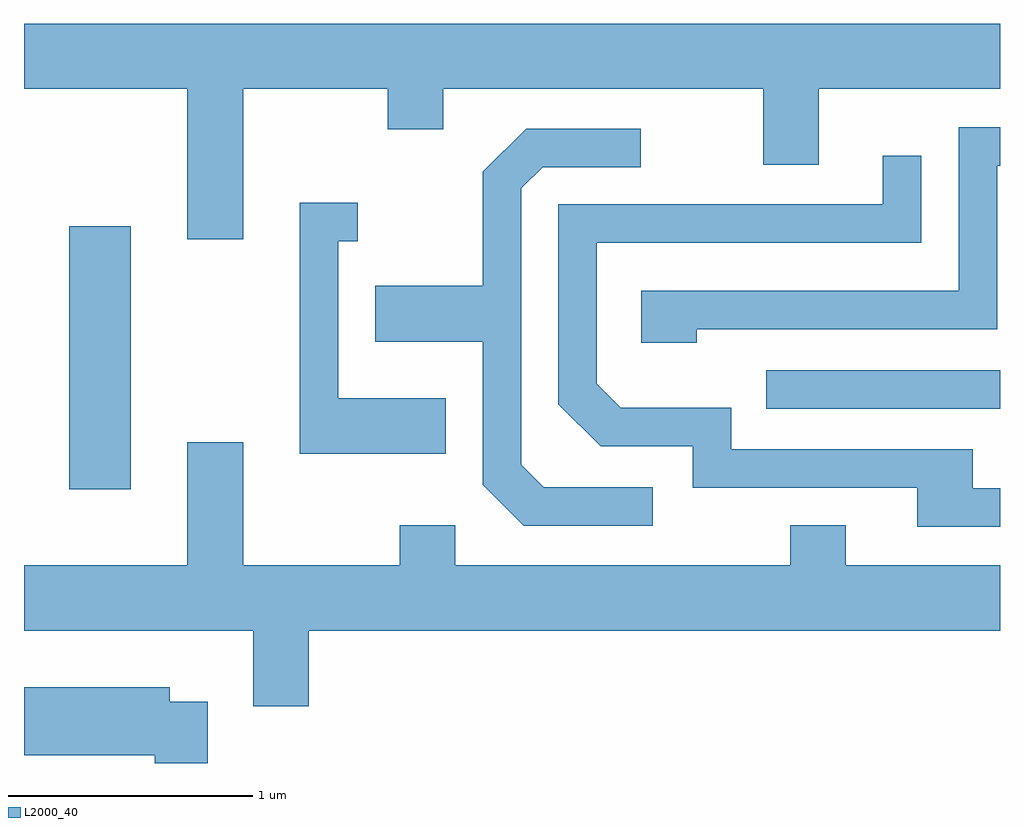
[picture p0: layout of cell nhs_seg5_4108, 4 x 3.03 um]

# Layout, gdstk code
import gdstk
lib = gdstk.Library(unit=1e-6, precision=1e-09)
def R(c, l, rs):  # rectangles x0, y0, x1, y1
    for r in rs: c.add(gdstk.rectangle(r[:2], r[2:], *l))
def P(c, l, *ps):  # polygons
    for p in ps: c.add(gdstk.Polygon(p, *l))
L2000_40 = (2000, 40)

nhs_seg5_4108 = lib.new_cell('nhs_seg5_4108')
R(nhs_seg5_4108, L2000_40, [(307.796,1415.196,308.049,1416.274), (310.653,1415.526,311.611,1415.684)])
P(nhs_seg5_4108, L2000_40, [(308.509,1416.836),(309.101,1416.836),(309.101,1416.671),(309.329,1416.671),(309.329,1416.836),(310.641,1416.836),(310.641,1416.526),(310.869,1416.526),(310.869,1416.836),(311.611,1416.836),(311.611,1417.104),(307.611,1417.104),(307.611,1416.836),(308.281,1416.836),(308.281,1416.221),(308.509,1416.221)],
  [(310.369,1415.851),(311.599,1415.851),(311.599,1416.521),(311.611,1416.521),(311.611,1416.679),(311.441,1416.679),(311.441,1416.009),(310.141,1416.009),(310.141,1415.796),(310.369,1415.796)],
  [(310.188,1415.204),(309.742,1415.204),(309.649,1415.297),(309.649,1416.429),(309.737,1416.516),(310.138,1416.516),(310.138,1416.674),(309.669,1416.674),(309.491,1416.497),(309.491,1416.029),(309.051,1416.029),(309.051,1415.801),(309.491,1415.801),(309.491,1415.214),(309.659,1415.046),(310.188,1415.046)],
  [(311.611,1415.199),(311.499,1415.199),(311.499,1415.359),(310.509,1415.359),(310.509,1415.529),(310.057,1415.529),(309.959,1415.627),(309.959,1416.206),(311.289,1416.206),(311.289,1416.563),(311.131,1416.563),(311.131,1416.364),(309.801,1416.364),(309.801,1415.544),(309.974,1415.371),(310.351,1415.371),(310.351,1415.201),(311.271,1415.201),(311.271,1415.041),(311.611,1415.041)],
  [(309.339,1415.569),(308.899,1415.569),(308.899,1416.211),(308.978,1416.211),(308.978,1416.369),(308.741,1416.369),(308.741,1415.341),(309.339,1415.341)],
  [(308.779,1414.616),(311.611,1414.616),(311.611,1414.884),(310.979,1414.884),(310.979,1415.049),(310.751,1415.049),(310.751,1414.884),(309.379,1414.884),(309.379,1415.049),(309.151,1415.049),(309.151,1414.884),(308.509,1414.884),(308.509,1415.389),(308.281,1415.389),(308.281,1414.884),(307.611,1414.884),(307.611,1414.616),(308.551,1414.616),(308.551,1414.306),(308.779,1414.306)],
  [(308.364,1414.324),(308.209,1414.324),(308.209,1414.384),(307.611,1414.384),(307.611,1414.106),(308.146,1414.106),(308.146,1414.072),(308.364,1414.072)])

lib.write_gds('nhs_seg5_4108.gds')
